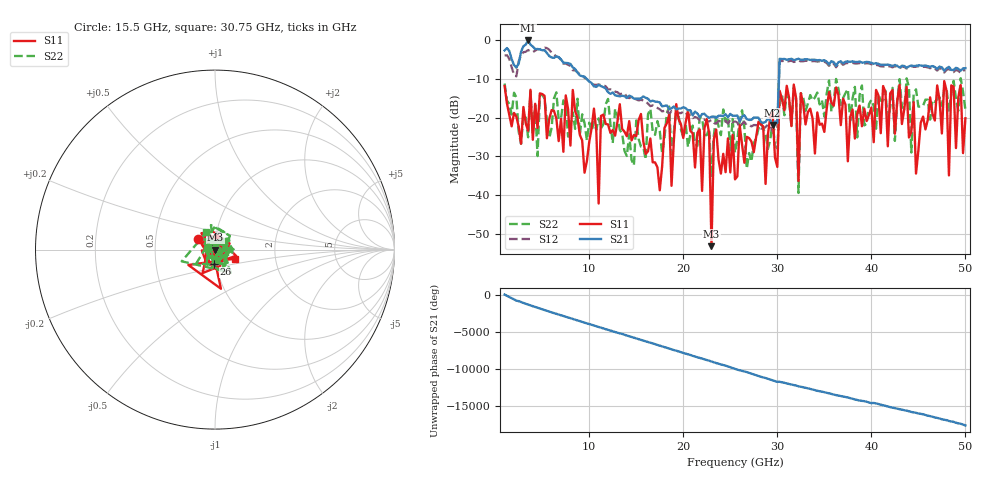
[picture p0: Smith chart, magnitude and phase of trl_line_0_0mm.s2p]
# GHz S RI R 50.0
!freq ReS11 ImS11 ReS21 ImS21 ReS12 ImS12 ReS22 ImS22
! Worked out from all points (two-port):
!   197 points, 1 GHz to 50 GHz, reference 50 ohm
!   highest |S21| = -0.21 dB at 3.5 GHz (marker M1); lowest = -21.9 dB at 29.5 GHz (marker M2)
!   |S21| within 3 dB of the highest: start of sweep to 1.535 GHz; 2.741 GHz to 5.421 GHz (2.68 GHz wide, 65.7 % of centre)
!   lowest |S11| = -53.0 dB at 23 GHz (marker M3), VSWR 1.00, Z = 50.2 - j0.12 ohm
!   |S11| at or under -10 dB: start of sweep to end of sweep
!   |S22| runs from -39.4 to -9.9 dB; largest |S21 - S12| = 1.5
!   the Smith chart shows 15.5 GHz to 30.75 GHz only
!   S11 on the Smith chart (normalised r, x): 15.5 GHz: 0.82, +0.10; 26 GHz: 0.98, -0.16; 30.75 GHz: 1.25, -0.13
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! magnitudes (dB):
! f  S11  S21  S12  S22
! 1 GHz  -11.9  -2.8  -4.1  -11.3
! 3.5 GHz  -23.4  -0.2  -2.7  -25.1
! 9.25 GHz  -25.9  -9.4  -9.2  -19.2
! 10.5 GHz  -17.7  -12.0  -11.6  -21.1
! 11 GHz  -42.1  -11.7  -11.4  -20.2
! 11.25 GHz  -19.6  -11.9  -11.8  -22.8
! 15.5 GHz  -19.1  -15.1  -15.4  -27.5
! 17.5 GHz  -38.7  -16.1  -17.9  -23.5
! 22.5 GHz  -20.4  -19.7  -20.9  -24.5
! 23 GHz  -53.0  -19.8  -20.6  -35.4
! 23.5 GHz  -23.1  -20.1  -21.6  -19.5
! 25.5 GHz  -35.9  -19.5  -21.0  -29.0
! 26 GHz  -22.0  -21.1  -22.5  -20.8
! 29.5 GHz  -18.5  -21.9  -23.6  -20.9
! 30.75 GHz  -18.2  -4.9  -5.4  -19.4
! 32 GHz  -15.0  -5.1  -5.5  -15.4
! 32.25 GHz  -36.3  -4.9  -5.3  -39.4
! 32.5 GHz  -13.7  -5.2  -5.6  -13.7
! 33.75 GHz  -20.3  -5.2  -5.5  -15.6
! 42 GHz  -13.8  -6.5  -6.9  -17.4
! 44.75 GHz  -34.4  -6.7  -7.0  -12.8
! 50 GHz  -20.2  -7.3  -7.8  -18.0
